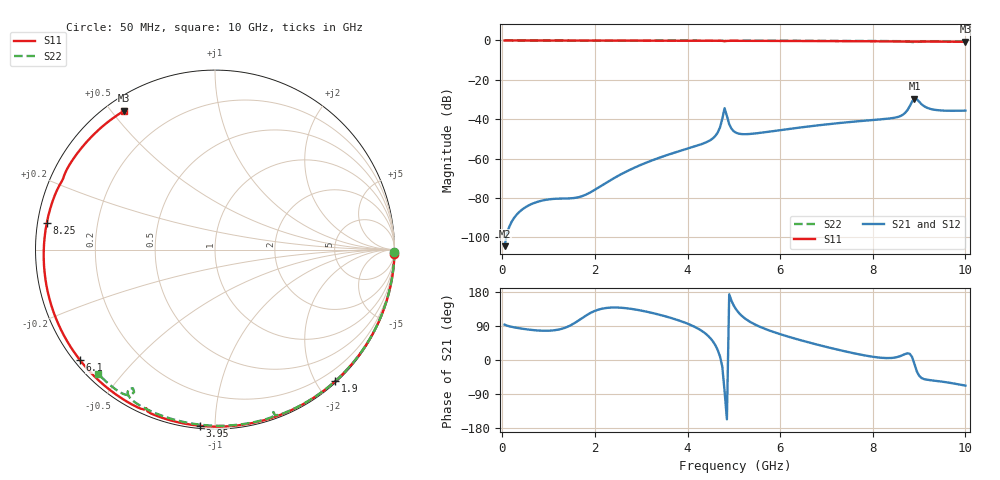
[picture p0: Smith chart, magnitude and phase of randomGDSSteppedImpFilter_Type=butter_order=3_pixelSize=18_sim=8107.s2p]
! freq	dB(S11)	phase(S11)	dB(S12)	phase(S12)
!  dB(S21)	phase(S21)	dB(S22)	phase(S22)
!S-par simulation data
#  GHz  S  DB  R 50
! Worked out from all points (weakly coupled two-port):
!   200 points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, 50 MHz to 10 GHz, reference 50 ohm
!   highest |S21| = -29.49 dB at 8.9 GHz (marker M1); lowest = -104.4 dB at 50 MHz (marker M2)
!   lowest |S11| = -0.7 dB at 10 GHz (marker M3), VSWR 25.51, Z = 2.53 + j27 ohm
!   |S11| at or under -10 dB: nowhere
!   |S22| runs from -0.9 to 0.0 dB; largest |S21 - S12| = 0
!   S11 on the Smith chart (normalised r, x): 50 MHz: 0, -89; 1.9 GHz: 0.02, -2.27; 3.95 GHz: 0.01, -0.92; 6.1 GHz: 0.02, -0.36; 8.25 GHz: 0.03, +0.08; 10 GHz: 0.05, +0.54
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0.05  -0.00 -1.3  -104.43 93.3  -104.43 93.3  -0.00 -0.8
0.85  -0.02 -21.6  -81.34 77.3  -81.34 77.3  -0.01 -13.0
1.75  -0.06 -43.9  -78.82 112.8  -78.82 112.8  -0.03 -26.6
1.9  -0.06 -47.6  -77.15 123.9  -77.15 123.9  -0.04 -28.9
2.65  -0.08 -65.4  -66.88 137.0  -66.88 137.0  -0.05 -39.9
3.4  -0.11 -82.6  -59.46 119.3  -59.46 119.3  -0.07 -50.7
3.95  -0.13 -94.9  -55.28 98.3  -55.28 98.3  -0.08 -58.4
4.4  -0.15 -104.7  -51.73 68.5  -51.73 68.5  -0.09 -64.7
4.6  -0.16 -109.1  -48.48 39.1  -48.48 39.1  -0.10 -67.6
4.7  -0.18 -111.4  -44.22 9.9  -44.22 9.9  -0.12 -69.1
4.8  -0.33 -113.4  -34.40 -81.9  -34.40 -81.9  -0.34 -70.3
4.9  -0.19 -115.0  -42.54 173.5  -42.54 173.5  -0.14 -70.8
5.05  -0.18 -118.4  -46.86 133.4  -46.86 133.4  -0.12 -73.1
5.35  -0.20 -124.9  -47.47 100.7  -47.47 100.7  -0.12 -77.2
6.1  -0.25 -140.8  -45.22 64.4  -45.22 64.4  -0.15 -87.0
6.7  -0.29 -153.6  -43.42 43.8  -43.42 43.8  -0.18 -94.5
8.25  -0.45 171.1  -39.88 5.3  -39.88 5.3  -0.30 -113.7
8.35  -0.47 168.7  -39.64 5.1  -39.64 5.1  -0.31 -115.0
8.65  -0.52 161.1  -37.70 13.1  -37.70 13.1  -0.39 -119.2
8.9  -0.59 155.0  -29.49 -10.5  -29.49 -10.5  -0.94 -120.6
9.25  -0.57 145.4  -34.79 -53.4  -34.79 -53.4  -0.40 -123.9
10  -0.68 123.2  -35.61 -67.6  -35.61 -67.6  -0.45 -133.3
